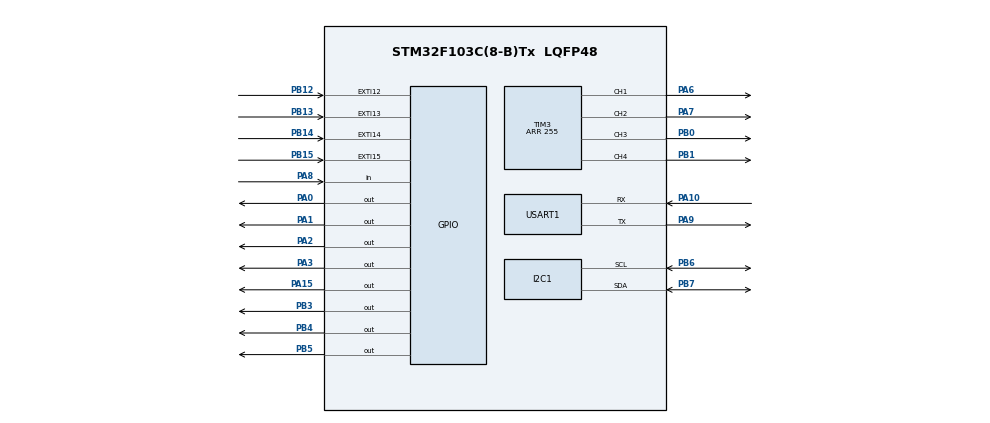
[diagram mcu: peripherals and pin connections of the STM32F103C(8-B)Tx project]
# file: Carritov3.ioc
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Mcu.Family=STM32F1
Mcu.Name=STM32F103C(8-B)Tx
Mcu.Package=LQFP48
NVIC.EXTI15_10_IRQn=true\:0\:0\:true\:false\:true\:true\:true\:true
NVIC.PriorityGroup=NVIC_PRIORITYGROUP_4
PA0-WKUP.Signal=GPIO_Output
PA1.Signal=GPIO_Output
PA10.Mode=Asynchronous
PA10.Signal=USART1_RX
PA13.Mode=Serial_Wire
PA13.Signal=SYS_JTMS-SWDIO
PA14.Mode=Serial_Wire
PA14.Signal=SYS_JTCK-SWCLK
PA15.Signal=GPIO_Output
PA2.Signal=GPIO_Output
PA3.Signal=GPIO_Output
PA6.Signal=S_TIM3_CH1
PA7.Signal=S_TIM3_CH2
PA8.GPIO_PuPd=GPIO_PULLDOWN
PA8.Signal=GPIO_Input
PA9.Mode=Asynchronous
PA9.Signal=USART1_TX
PB0.Signal=S_TIM3_CH3
PB1.Signal=S_TIM3_CH4
PB12.Signal=GPXTI12
PB13.Signal=GPXTI13
PB14.Signal=GPXTI14
PB15.Signal=GPXTI15
PB3.Signal=GPIO_Output
PB4.Signal=GPIO_Output
PB5.Signal=GPIO_Output
PB6.Mode=I2C
PB6.Signal=I2C1_SCL
PB7.Mode=I2C
PB7.Signal=I2C1_SDA
PD0-OSC_IN.Mode=HSE-External-Oscillator
PD0-OSC_IN.Signal=RCC_OSC_IN
PD1-OSC_OUT.Mode=HSE-External-Oscillator
PD1-OSC_OUT.Signal=RCC_OSC_OUT
ProjectManager.HeapSize=0x200
ProjectManager.StackSize=0x400
ProjectManager.TargetToolchain=STM32CubeIDE
RCC.APB1Freq_Value=8000000
RCC.APB2Freq_Value=8000000
SH.S_TIM3_CH1.0=TIM3_CH1,PWM Generation1 CH1
SH.S_TIM3_CH2.0=TIM3_CH2,PWM Generation2 CH2
SH.S_TIM3_CH3.0=TIM3_CH3,PWM Generation3 CH3
SH.S_TIM3_CH4.0=TIM3_CH4,PWM Generation4 CH4
TIM3.Channel-PWM\ Generation1\ CH1=TIM_CHANNEL_1
TIM3.Channel-PWM\ Generation2\ CH2=TIM_CHANNEL_2
TIM3.Channel-PWM\ Generation3\ CH3=TIM_CHANNEL_3
TIM3.Channel-PWM\ Generation4\ CH4=TIM_CHANNEL_4
TIM3.Period=255
USART1.VirtualMode=VM_ASYNC
board=custom

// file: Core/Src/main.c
/* USER CODE BEGIN Header */
/**
  ******************************************************************************
  * @file           : main.c
  * @brief          : Main program body
  ******************************************************************************
  * @attention
  *
  * Copyright (c) 2023 STMicroelectronics.
  * All rights reserved.
  *
  * This software is licensed under terms that can be found in the LICENSE file
  * in the root directory of this software component.
  * If no LICENSE file comes with this software, it is provided AS-IS.
  *
  ******************************************************************************
  */
/* USER CODE END Header */
#include "main.h"

/* USER CODE BEGIN Includes */
#include "stdio.h"
/* USER CODE END Includes */

I2C_HandleTypeDef hi2c1;

TIM_HandleTypeDef htim3;

UART_HandleTypeDef huart1;

/* USER CODE BEGIN PV */
uint8_t state = 0;

volatile uint8_t pulses_rf;
volatile uint8_t pulses_lf;
volatile uint8_t pulses_rb;
volatile uint8_t pulses_lb;
uint8_t pulsesperturn = 20;
float rpm_rf;
float rpm_lf;
float rpm_rb;
float rpm_lb;

uint8_t current_tick_rf;
uint8_t current_tick_lf;
uint8_t current_tick_rb;
uint8_t current_tick_lb;

/* USER CODE END PV */

void SystemClock_Config(void);
static void MX_GPIO_Init(void);
static void MX_I2C1_Init(void);
static void MX_TIM3_Init(void);
static void MX_USART1_UART_Init(void);

int main(void)
{
  /* USER CODE BEGIN 1 */
	char rpmdata[1400];
  /* USER CODE END 1 */

  /* MCU Configuration--------------------------------------------------------*/

  /* Reset of all peripherals, Initializes the Flash interface and the Systick. */
  HAL_Init();

  /* Configure the system clock */
  SystemClock_Config();

  /* Initialize all configured peripherals */
  MX_GPIO_Init();
  MX_I2C1_Init();
  MX_TIM3_Init();
  MX_USART1_UART_Init();
  /* USER CODE BEGIN 2 */
  HAL_TIM_PWM_Start(&htim3, TIM_CHANNEL_1);
  HAL_TIM_PWM_Start(&htim3, TIM_CHANNEL_2);
  HAL_TIM_PWM_Start(&htim3, TIM_CHANNEL_3);
  HAL_TIM_PWM_Start(&htim3, TIM_CHANNEL_4);

  uint32_t start_time, elapsed_time, current_time;

  uint8_t last_ticked_rf = 0;
  uint8_t last_ticked_lf = 0;
  uint8_t last_ticked_rb = 0;
  uint8_t last_ticked_lb = 0;

  /* USER CODE END 2 */

  /* Infinite loop */
  while (1)
  {

    /* USER CODE BEGIN 3 */

	  __HAL_TIM_SET_COMPARE(&htim3, TIM_CHANNEL_1, 170);
	  __HAL_TIM_SET_COMPARE(&htim3, TIM_CHANNEL_2, 170);
	  __HAL_TIM_SET_COMPARE(&htim3, TIM_CHANNEL_3, 170);
	  __HAL_TIM_SET_COMPARE(&htim3, TIM_CHANNEL_4, 170);

	  switch(state){

		  case 1:
			  //Forward path
			  //Poner en libreria

			  HAL_GPIO_WritePin(GPIOA, GPIO_PIN_0, 0); //izq atras
			  HAL_GPIO_WritePin(GPIOA, GPIO_PIN_1, 1); //izq atras
			  HAL_GPIO_WritePin(GPIOA, GPIO_PIN_2, 1); //derehca atras
			  HAL_GPIO_WritePin(GPIOA, GPIO_PIN_3, 0); //derecha atrasa
			  HAL_GPIO_WritePin(GPIOA, GPIO_PIN_15, 0); //derecha enfrente
			  HAL_GPIO_WritePin(GPIOB, GPIO_PIN_3, 1); //derecha enfrente
			  HAL_GPIO_WritePin(GPIOB, GPIO_PIN_4, 1); //izq enfrente
			  HAL_GPIO_WritePin(GPIOB, GPIO_PIN_5, 0); // ezq enfrente

			  break;

		  case 2:
			  //Right turn
			  //Poner en libreria

			  HAL_GPIO_WritePin(GPIOA, GPIO_PIN_0, 0);
			  HAL_GPIO_WritePin(GPIOA, GPIO_PIN_1, 1);
			  HAL_GPIO_WritePin(GPIOA, GPIO_PIN_2, 0);
			  HAL_GPIO_WritePin(GPIOA, GPIO_PIN_3, 1);
			  HAL_GPIO_WritePin(GPIOA, GPIO_PIN_15, 1);
			  HAL_GPIO_WritePin(GPIOB, GPIO_PIN_3, 0);
			  HAL_GPIO_WritePin(GPIOB, GPIO_PIN_4, 1);
			  HAL_GPIO_WritePin(GPIOB, GPIO_PIN_5, 0);

			  break;

		  default:
			  break;

	  }

	  current_time = HAL_GetTick();
	  elapsed_time = current_time - start_time;

	  if(elapsed_time > 1000){

		  rpm_rf = ((current_tick_rf - last_ticked_rf) * 1000 *	60) / (20 * 1000);
		  rpm_lf = ((current_tick_lf - last_ticked_lf) * 1000 *	60) / (20 * 1000);
		  rpm_rb = ((current_tick_rb - last_ticked_rb) * 1000 *	60) / (20 * 1000);
		  rpm_lb = ((current_tick_lb - last_ticked_lb) * 1000 *	60) / (20 * 1000);

		  last_ticked_rf = current_tick_rf;
		  last_ticked_lf = current_tick_lf;
		  last_ticked_rb = current_tick_rb;
		  last_ticked_lb = current_tick_lb;

		  current_tick_rf = 0;
		  current_tick_lf = 0;
		  current_tick_rb = 0;
		  current_tick_lb = 0;

		 uint32_t millis = HAL_GetTick();
		 uint8_t num_chars =  sprintf(rpmdata, "Time: %ul \n\r Right Front: %.2f \n\r Left Front: %.2f \n\r  Right Back: %.2f \n\r Left Back: %.2f \n\r", millis, rpm_rf , rpm_lf, rpm_rb, rpm_lb);
		 //uint8_t num_chars =  sprintf(rpmdata, "%.2f , %.2f , %.2f, , %.2f , %.2f", start_time, rpm_rf , rpm_lf, rpm_rb, rpm_lb);

		  HAL_UART_Transmit(&huart1, &rpmdata, num_chars, 10);

	  }

		  if(state == 0){
			  if(HAL_GPIO_ReadPin(GPIOA, GPIO_PIN_8) == 1){
				  start_time = HAL_GetTick();
				  elapsed_time = 0;
				  state++;
			  }
		  }
		  else if(state == 1){
			  if(elapsed_time > 5000){
				  start_time = HAL_GetTick();
				  elapsed_time = 0;
				  state++;
			  }
		  }
		  else if(state == 2){
			  if(elapsed_time > 1000){

				  state = 1;
			  }
		  }

	  /*
	  // Parte 1: Mover hacia adelante
	          start_time = HAL_GetTick();
	          elapsed_time = 0;
	          while (elapsed_time < 5000) {
				  HAL_GPIO_WritePin(GPIOA, GPIO_PIN_0, 0); //izq atras
				  HAL_GPIO_WritePin(GPIOA, GPIO_PIN_1, 1); //izq atras
				  HAL_GPIO_WritePin(GPIOA, GPIO_PIN_2, 1); //derehca atras
				  HAL_GPIO_WritePin(GPIOA, GPIO_PIN_3, 0); //derecha atrasa
				  HAL_GPIO_WritePin(GPIOA, GPIO_PIN_15, 0); //derecha enfrente
				  HAL_GPIO_WritePin(GPIOB, GPIO_PIN_3, 1); //derecha enfrente
				  HAL_GPIO_WritePin(GPIOB, GPIO_PIN_4, 1); //izq enfrente
				  HAL_GPIO_WritePin(GPIOB, GPIO_PIN_5, 0); // ezq enfrente
	              current_time = HAL_GetTick();
	              elapsed_time = current_time - start_time;
	          }

	          // Parte 2: Girar a la derecha
	          start_time = HAL_GetTick();
	          elapsed_time = 0;
	          while (elapsed_time < 5000) {
					  HAL_GPIO_WritePin(GPIOA, GPIO_PIN_0, 0);
					  HAL_GPIO_WritePin(GPIOA, GPIO_PIN_1, 1);
					  HAL_GPIO_WritePin(GPIOA, GPIO_PIN_2, 0);
					  HAL_GPIO_WritePin(GPIOA, GPIO_PIN_3, 1);
					  HAL_GPIO_WritePin(GPIOA, GPIO_PIN_15, 1);
					  HAL_GPIO_WritePin(GPIOB, GPIO_PIN_3, 0);
					  HAL_GPIO_WritePin(GPIOB, GPIO_PIN_4, 1);
					  HAL_GPIO_WritePin(GPIOB, GPIO_PIN_5, 0);
	              current_time = HAL_GetTick();
	              elapsed_time = current_time - start_time;
	          }
	          */

  }

  /* USER CODE END 3 */
}

void SystemClock_Config(void)
{
  RCC_OscInitTypeDef RCC_OscInitStruct = {0};
  RCC_ClkInitTypeDef RCC_ClkInitStruct = {0};

  /** Initializes the RCC Oscillators according to the specified parameters
  * in the RCC_OscInitTypeDef structure.
  */
  RCC_OscInitStruct.OscillatorType = RCC_OSCILLATORTYPE_HSI;
  RCC_OscInitStruct.HSIState = RCC_HSI_ON;
  RCC_OscInitStruct.HSICalibrationValue = RCC_HSICALIBRATION_DEFAULT;
  RCC_OscInitStruct.PLL.PLLState = RCC_PLL_NONE;
  if (HAL_RCC_OscConfig(&RCC_OscInitStruct) != HAL_OK)
  {
    Error_Handler();
  }

  /** Initializes the CPU, AHB and APB buses clocks
  */
  RCC_ClkInitStruct.ClockType = RCC_CLOCKTYPE_HCLK|RCC_CLOCKTYPE_SYSCLK
                              |RCC_CLOCKTYPE_PCLK1|RCC_CLOCKTYPE_PCLK2;
  RCC_ClkInitStruct.SYSCLKSource = RCC_SYSCLKSOURCE_HSI;
  RCC_ClkInitStruct.AHBCLKDivider = RCC_SYSCLK_DIV1;
  RCC_ClkInitStruct.APB1CLKDivider = RCC_HCLK_DIV1;
  RCC_ClkInitStruct.APB2CLKDivider = RCC_HCLK_DIV1;

  if (HAL_RCC_ClockConfig(&RCC_ClkInitStruct, FLASH_LATENCY_0) != HAL_OK)
  {
    Error_Handler();
  }
}

static void MX_I2C1_Init(void)
{

  hi2c1.Instance = I2C1;
  hi2c1.Init.ClockSpeed = 100000;
  hi2c1.Init.DutyCycle = I2C_DUTYCYCLE_2;
  hi2c1.Init.OwnAddress1 = 0;
  hi2c1.Init.AddressingMode = I2C_ADDRESSINGMODE_7BIT;
  hi2c1.Init.DualAddressMode = I2C_DUALADDRESS_DISABLE;
  hi2c1.Init.OwnAddress2 = 0;
  hi2c1.Init.GeneralCallMode = I2C_GENERALCALL_DISABLE;
  hi2c1.Init.NoStretchMode = I2C_NOSTRETCH_DISABLE;
  if (HAL_I2C_Init(&hi2c1) != HAL_OK)
  {
    Error_Handler();
  }

}

static void MX_TIM3_Init(void)
{

  TIM_MasterConfigTypeDef sMasterConfig = {0};
  TIM_OC_InitTypeDef sConfigOC = {0};

  htim3.Instance = TIM3;
  htim3.Init.Prescaler = 0;
  htim3.Init.CounterMode = TIM_COUNTERMODE_UP;
  htim3.Init.Period = 255;
  htim3.Init.ClockDivision = TIM_CLOCKDIVISION_DIV1;
  htim3.Init.AutoReloadPreload = TIM_AUTORELOAD_PRELOAD_DISABLE;
  if (HAL_TIM_PWM_Init(&htim3) != HAL_OK)
  {
    Error_Handler();
  }
  sMasterConfig.MasterOutputTrigger = TIM_TRGO_RESET;
  sMasterConfig.MasterSlaveMode = TIM_MASTERSLAVEMODE_DISABLE;
  if (HAL_TIMEx_MasterConfigSynchronization(&htim3, &sMasterConfig) != HAL_OK)
  {
    Error_Handler();
  }
  sConfigOC.OCMode = TIM_OCMODE_PWM1;
  sConfigOC.Pulse = 0;
  sConfigOC.OCPolarity = TIM_OCPOLARITY_HIGH;
  sConfigOC.OCFastMode = TIM_OCFAST_DISABLE;
  if (HAL_TIM_PWM_ConfigChannel(&htim3, &sConfigOC, TIM_CHANNEL_1) != HAL_OK)
  {
    Error_Handler();
  }
  if (HAL_TIM_PWM_ConfigChannel(&htim3, &sConfigOC, TIM_CHANNEL_2) != HAL_OK)
  {
    Error_Handler();
  }
  if (HAL_TIM_PWM_ConfigChannel(&htim3, &sConfigOC, TIM_CHANNEL_3) != HAL_OK)
  {
    Error_Handler();
  }
  if (HAL_TIM_PWM_ConfigChannel(&htim3, &sConfigOC, TIM_CHANNEL_4) != HAL_OK)
  {
    Error_Handler();
  }
  HAL_TIM_MspPostInit(&htim3);

}

static void MX_USART1_UART_Init(void)
{

  /* USER CODE BEGIN USART1_Init 0 */

	HAL_UART_TxCpltCallback(&huart1);

  /* USER CODE END USART1_Init 0 */

  huart1.Instance = USART1;
  huart1.Init.BaudRate = 115200;
  huart1.Init.WordLength = UART_WORDLENGTH_8B;
  huart1.Init.StopBits = UART_STOPBITS_1;
  huart1.Init.Parity = UART_PARITY_NONE;
  huart1.Init.Mode = UART_MODE_TX_RX;
  huart1.Init.HwFlowCtl = UART_HWCONTROL_NONE;
  huart1.Init.OverSampling = UART_OVERSAMPLING_16;
  if (HAL_UART_Init(&huart1) != HAL_OK)
  {
    Error_Handler();
  }

}

static void MX_GPIO_Init(void)
{
  GPIO_InitTypeDef GPIO_InitStruct = {0};

  /* GPIO Ports Clock Enable */
  __HAL_RCC_GPIOD_CLK_ENABLE();
  __HAL_RCC_GPIOA_CLK_ENABLE();
  __HAL_RCC_GPIOB_CLK_ENABLE();

  /*Configure GPIO pin Output Level */
  HAL_GPIO_WritePin(GPIOA, GPIO_PIN_0|GPIO_PIN_1|GPIO_PIN_2|GPIO_PIN_3
                          |GPIO_PIN_15, GPIO_PIN_RESET);

  /*Configure GPIO pin Output Level */
  HAL_GPIO_WritePin(GPIOB, GPIO_PIN_3|GPIO_PIN_4|GPIO_PIN_5, GPIO_PIN_RESET);

  /*Configure GPIO pins : PA0 PA1 PA2 PA3
                           PA15 */
  GPIO_InitStruct.Pin = GPIO_PIN_0|GPIO_PIN_1|GPIO_PIN_2|GPIO_PIN_3
                          |GPIO_PIN_15;
  GPIO_InitStruct.Mode = GPIO_MODE_OUTPUT_PP;
  GPIO_InitStruct.Pull = GPIO_NOPULL;
  GPIO_InitStruct.Speed = GPIO_SPEED_FREQ_LOW;
  HAL_GPIO_Init(GPIOA, &GPIO_InitStruct);

  /*Configure GPIO pins : PB12 PB13 PB14 PB15 */
  GPIO_InitStruct.Pin = GPIO_PIN_12|GPIO_PIN_13|GPIO_PIN_14|GPIO_PIN_15;
  GPIO_InitStruct.Mode = GPIO_MODE_IT_RISING;
  GPIO_InitStruct.Pull = GPIO_NOPULL;
  HAL_GPIO_Init(GPIOB, &GPIO_InitStruct);

  /*Configure GPIO pin : PA8 */
  GPIO_InitStruct.Pin = GPIO_PIN_8;
  GPIO_InitStruct.Mode = GPIO_MODE_INPUT;
  GPIO_InitStruct.Pull = GPIO_PULLDOWN;
  HAL_GPIO_Init(GPIOA, &GPIO_InitStruct);

  /*Configure GPIO pins : PB3 PB4 PB5 */
  GPIO_InitStruct.Pin = GPIO_PIN_3|GPIO_PIN_4|GPIO_PIN_5;
  GPIO_InitStruct.Mode = GPIO_MODE_OUTPUT_PP;
  GPIO_InitStruct.Pull = GPIO_NOPULL;
  GPIO_InitStruct.Speed = GPIO_SPEED_FREQ_LOW;
  HAL_GPIO_Init(GPIOB, &GPIO_InitStruct);

  /* EXTI interrupt init*/
  HAL_NVIC_SetPriority(EXTI15_10_IRQn, 0, 0);
  HAL_NVIC_EnableIRQ(EXTI15_10_IRQn);

}

/* USER CODE BEGIN 4 */

void HAL_GPIO_EXTI_Callback(uint16_t GPIO_Pin)
{
  /* Prevent unused argument(s) compilation warning */
  if(GPIO_Pin == GPIO_PIN_15){
	  //Right front wheel
	  pulses_rf++;
	  current_tick_rf += pulses_rf;
	  __HAL_GPIO_EXTI_CLEAR_IT(GPIO_Pin);

  }
  if(GPIO_Pin == GPIO_PIN_14){
	  //Left front wheel
	  pulses_lf++;
	  current_tick_lf += pulses_lf;
	  __HAL_GPIO_EXTI_CLEAR_IT(GPIO_Pin);

  }
  if(GPIO_Pin == GPIO_PIN_13){
	  //Right back wheel
	  pulses_rb++;
	  current_tick_rb += pulses_rb;
	  __HAL_GPIO_EXTI_CLEAR_IT(GPIO_Pin);

  }
  if(GPIO_Pin == GPIO_PIN_12){
	  //Left back wheel
	  pulses_lb++;
	  current_tick_lb += pulses_lb;
	  __HAL_GPIO_EXTI_CLEAR_IT(GPIO_Pin);

  }
  /* NOTE: This function Should not be modified, when the callback is needed,
           the HAL_GPIO_EXTI_Callback could be implemented in the user file
   */
}

/* USER CODE END 4 */

void Error_Handler(void)
{
  __disable_irq();
  while (1)
  {
  }
}
